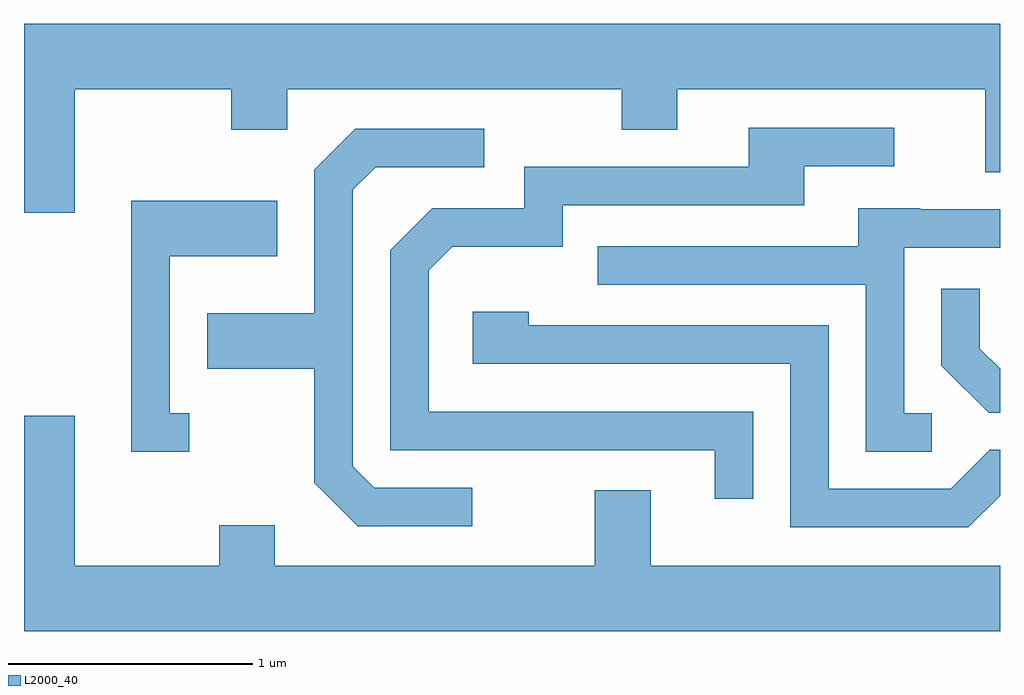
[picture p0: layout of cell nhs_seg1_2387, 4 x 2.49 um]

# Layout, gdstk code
import gdstk
lib = gdstk.Library(unit=1e-6, precision=1e-09)
def P(c, l, *ps):  # polygons
    for p in ps: c.add(gdstk.Polygon(p, *l))
L2000_40 = (2000, 40)

nhs_seg1_2387 = lib.new_cell('nhs_seg1_2387')
P(nhs_seg1_2387, L2000_40, [(257.819,930.656),(258.461,930.656),(258.461,930.491),(258.689,930.491),(258.689,930.656),(260.061,930.656),(260.061,930.491),(260.289,930.491),(260.289,930.656),(261.551,930.656),(261.551,930.316),(261.611,930.316),(261.611,930.924),(257.611,930.924),(257.611,930.151),(257.819,930.151)],
  [(260.599,929.334),(259.269,929.334),(259.269,929.914),(259.367,930.011),(259.819,930.011),(259.819,930.181),(260.809,930.181),(260.809,930.341),(261.178,930.341),(261.178,930.499),(260.581,930.499),(260.581,930.339),(259.661,930.339),(259.661,930.169),(259.284,930.169),(259.111,929.997),(259.111,929.176),(260.441,929.176),(260.441,928.978),(260.599,928.978)],
  [(259.448,929.024),(259.046,929.024),(258.959,929.112),(258.959,930.244),(259.052,930.336),(259.498,930.336),(259.498,930.494),(258.969,930.494),(258.801,930.327),(258.801,929.739),(258.361,929.739),(258.361,929.511),(258.801,929.511),(258.801,929.044),(258.979,928.866),(259.448,928.866)],
  [(258.288,929.329),(258.209,929.329),(258.209,929.971),(258.649,929.971),(258.649,930.199),(258.051,930.199),(258.051,929.171),(258.288,929.171)],
  [(261.332,929.329),(261.219,929.329),(261.219,930.006),(261.611,930.006),(261.611,930.164),(261.285,930.164),(261.285,930.169),(261.031,930.169),(261.031,930.014),(259.962,930.014),(259.962,929.856),(261.061,929.856),(261.061,929.171),(261.332,929.171)],
  [(261.611,929.51),(261.529,929.592),(261.529,929.838),(261.371,929.838),(261.371,929.524),(261.564,929.331),(261.611,929.331)],
  [(261.611,928.99),(261.611,929.179),(261.569,929.179),(261.409,929.019),(260.909,929.019),(260.909,929.689),(259.679,929.689),(259.679,929.744),(259.451,929.744),(259.451,929.531),(260.751,929.531),(260.751,928.861),(261.481,928.861)],
  [(261.611,928.704),(260.179,928.704),(260.179,929.014),(259.951,929.014),(259.951,928.704),(258.639,928.704),(258.639,928.869),(258.411,928.869),(258.411,928.704),(257.819,928.704),(257.819,929.319),(257.611,929.319),(257.611,928.436),(261.611,928.436)])

lib.write_gds('nhs_seg1_2387.gds')
